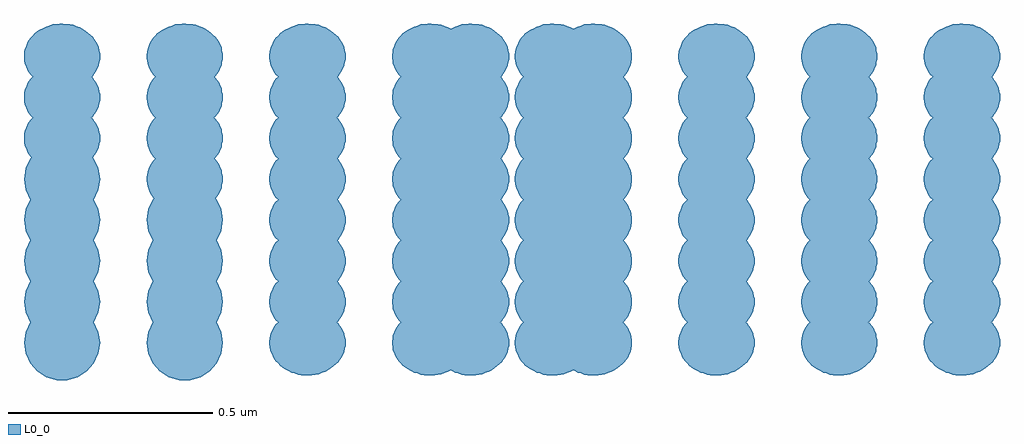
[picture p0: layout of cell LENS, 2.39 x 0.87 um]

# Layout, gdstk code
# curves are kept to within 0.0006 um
import gdstk
lib = gdstk.Library(unit=1e-6, precision=1e-09)
def P(c, l, *ps):  # polygons
    for p in ps: c.add(gdstk.Polygon(p, *l))
L0_0 = (0, 0)

circle = lib.new_cell('CIRCLE')
P(circle, L0_0, [(0.093,0),(0.089,0.026),(0.078,0.05),(0.061,0.07),(0.039,0.085),(0.013,0.092),(-0.013,0.092),(-0.039,0.085),(-0.061,0.07),(-0.078,0.05),(-0.089,0.026),(-0.093,0),(-0.089,-0.026),(-0.078,-0.05),(-0.061,-0.07),(-0.039,-0.085),(-0.013,-0.092),(0.013,-0.092),(0.039,-0.085),(0.061,-0.07),(0.078,-0.05),(0.089,-0.026)])

oval = lib.new_cell('OVAL')
P(oval, L0_0, [(0.093,0),(0.093,0.007),(0.09,0.022),(0.084,0.035),(0.075,0.048),(0.057,0.063),(0.043,0.071),(0.027,0.077),(0.002,0.08),(-0.006,0.08),(-0.023,0.078),(-0.039,0.073),(-0.054,0.065),(-0.067,0.056),(-0.077,0.045),(-0.082,0.038),(-0.091,0.018),(-0.093,0.004),(-0.093,-0.004),(-0.091,-0.018),(-0.085,-0.032),(-0.077,-0.045),(-0.067,-0.056),(-0.054,-0.065),(-0.039,-0.073),(-0.023,-0.078),(-0.006,-0.08),(0.002,-0.08),(0.027,-0.077),(0.043,-0.071),(0.057,-0.063),(0.075,-0.048),(0.084,-0.035),(0.09,-0.022),(0.093,-0.007)])

lens = lib.new_cell('LENS')
lens.add(gdstk.Reference(circle, (0,0)))
lens.add(gdstk.Reference(circle, (0,0.1)))
lens.add(gdstk.Reference(circle, (0,0.2)))
lens.add(gdstk.Reference(circle, (0,0.3)))
lens.add(gdstk.Reference(circle, (0,0.4)))
lens.add(gdstk.Reference(oval, (0,0.5)))
lens.add(gdstk.Reference(oval, (0,0.6)))
lens.add(gdstk.Reference(oval, (0,0.7)))
lens.add(gdstk.Reference(circle, (0.3,0)))
lens.add(gdstk.Reference(circle, (0.3,0.1)))
lens.add(gdstk.Reference(circle, (0.3,0.2)))
lens.add(gdstk.Reference(circle, (0.3,0.3)))
lens.add(gdstk.Reference(oval, (0.3,0.4)))
lens.add(gdstk.Reference(oval, (0.3,0.5)))
lens.add(gdstk.Reference(oval, (0.3,0.6)))
lens.add(gdstk.Reference(oval, (0.3,0.7)))
lens.add(gdstk.Reference(oval, (0.6,0)))
lens.add(gdstk.Reference(oval, (0.6,0.1)))
lens.add(gdstk.Reference(oval, (0.6,0.2)))
lens.add(gdstk.Reference(oval, (0.6,0.3)))
lens.add(gdstk.Reference(oval, (0.6,0.4)))
lens.add(gdstk.Reference(oval, (0.6,0.5)))
lens.add(gdstk.Reference(oval, (0.6,0.6)))
lens.add(gdstk.Reference(oval, (0.6,0.7)))
lens.add(gdstk.Reference(oval, (0.9,0)))
lens.add(gdstk.Reference(oval, (0.9,0.1)))
lens.add(gdstk.Reference(oval, (0.9,0.2)))
lens.add(gdstk.Reference(oval, (0.9,0.3)))
lens.add(gdstk.Reference(oval, (0.9,0.4)))
lens.add(gdstk.Reference(oval, (0.9,0.5)))
lens.add(gdstk.Reference(oval, (0.9,0.6)))
lens.add(gdstk.Reference(oval, (0.9,0.7)))
lens.add(gdstk.Reference(oval, (1.2,0)))
lens.add(gdstk.Reference(oval, (1.2,0.1)))
lens.add(gdstk.Reference(oval, (1.2,0.2)))
lens.add(gdstk.Reference(oval, (1.2,0.3)))
lens.add(gdstk.Reference(oval, (1.2,0.4)))
lens.add(gdstk.Reference(oval, (1.2,0.5)))
lens.add(gdstk.Reference(oval, (1.2,0.6)))
lens.add(gdstk.Reference(oval, (1.2,0.7)))
lens.add(gdstk.Reference(oval, (1,0)))
lens.add(gdstk.Reference(oval, (1,0.1)))
lens.add(gdstk.Reference(oval, (1,0.2)))
lens.add(gdstk.Reference(oval, (1,0.3)))
lens.add(gdstk.Reference(oval, (1,0.4)))
lens.add(gdstk.Reference(oval, (1,0.5)))
lens.add(gdstk.Reference(oval, (1,0.6)))
lens.add(gdstk.Reference(oval, (1,0.7)))
lens.add(gdstk.Reference(oval, (1.3,0)))
lens.add(gdstk.Reference(oval, (1.3,0.1)))
lens.add(gdstk.Reference(oval, (1.3,0.2)))
lens.add(gdstk.Reference(oval, (1.3,0.3)))
lens.add(gdstk.Reference(oval, (1.3,0.4)))
lens.add(gdstk.Reference(oval, (1.3,0.5)))
lens.add(gdstk.Reference(oval, (1.3,0.6)))
lens.add(gdstk.Reference(oval, (1.3,0.7)))
lens.add(gdstk.Reference(oval, (1.6,0)))
lens.add(gdstk.Reference(oval, (1.6,0.1)))
lens.add(gdstk.Reference(oval, (1.6,0.2)))
lens.add(gdstk.Reference(oval, (1.6,0.3)))
lens.add(gdstk.Reference(oval, (1.6,0.4)))
lens.add(gdstk.Reference(oval, (1.6,0.5)))
lens.add(gdstk.Reference(oval, (1.6,0.6)))
lens.add(gdstk.Reference(oval, (1.6,0.7)))
lens.add(gdstk.Reference(oval, (1.9,0)))
lens.add(gdstk.Reference(oval, (1.9,0.1)))
lens.add(gdstk.Reference(oval, (1.9,0.2)))
lens.add(gdstk.Reference(oval, (1.9,0.3)))
lens.add(gdstk.Reference(oval, (1.9,0.4)))
lens.add(gdstk.Reference(oval, (1.9,0.5)))
lens.add(gdstk.Reference(oval, (1.9,0.6)))
lens.add(gdstk.Reference(oval, (1.9,0.7)))
lens.add(gdstk.Reference(oval, (2.2,0)))
lens.add(gdstk.Reference(oval, (2.2,0.1)))
lens.add(gdstk.Reference(oval, (2.2,0.2)))
lens.add(gdstk.Reference(oval, (2.2,0.3)))
lens.add(gdstk.Reference(oval, (2.2,0.4)))
lens.add(gdstk.Reference(oval, (2.2,0.5)))
lens.add(gdstk.Reference(oval, (2.2,0.6)))
lens.add(gdstk.Reference(oval, (2.2,0.7)))

lib.write_gds('LENS.gds')
